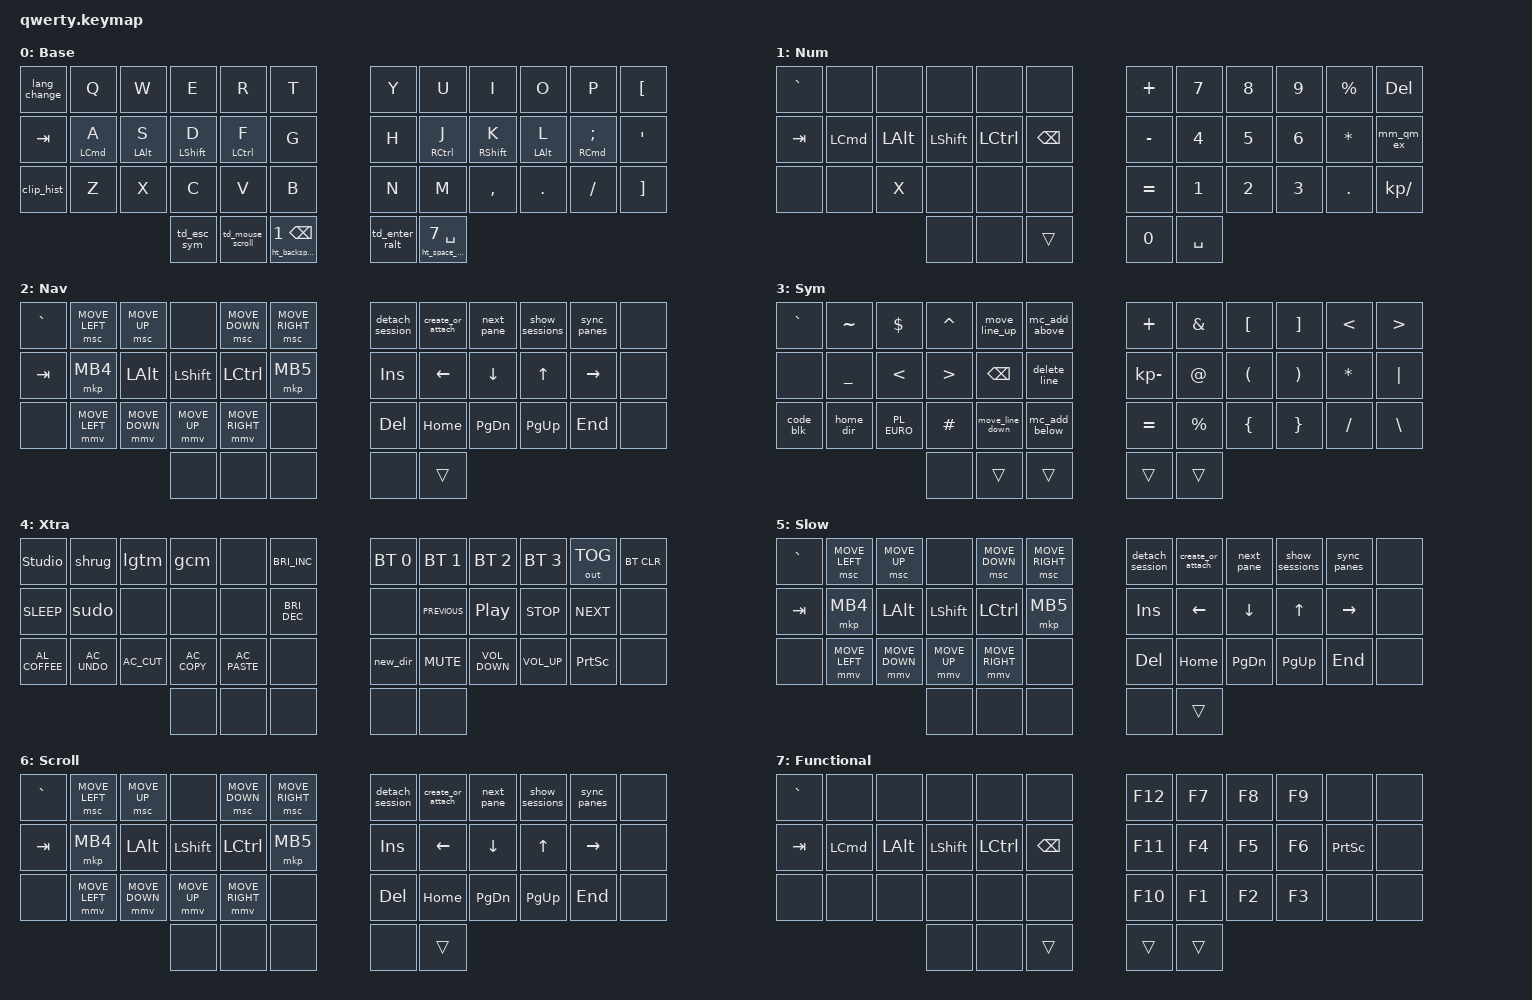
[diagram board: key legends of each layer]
/* upstream bindings and behaviors */
#include <behaviors.dtsi>
#include <dt-bindings/zmk/bt.h>
#include <dt-bindings/zmk/keys.h>
#include <dt-bindings/zmk/mouse.h>
#include <dt-bindings/zmk/outputs.h>
#include <behaviors/mouse_keys.dtsi>
#include <dt-bindings/zmk/ext_power.h>

/* local overlays */
#include "keys_pl.h"
#include "macros.dtsi"
#include "behaviors.dtsi"
#include "combos.dtsi"


/ {
/* --- KEYMAP CONFIG --- */
// ╭──────┬──────┬──────┬──────┬──────┬──────╮  ╭──────┬──────┬──────┬──────┬──────┬──────╮
//    00     01     02     03    04      05        06     07     08     09     10     11
// ├──────┼──────┼──────┼──────┼──────┼──────┤  ├──────┼──────┼──────┼──────┼──────┼──────┤
//    12     13     14     15    16      17        18     19     20     21     22     23
// ├──────┼──────┼──────┼──────┼──────┼──────┤  ├──────┼──────┼──────┼──────┼──────┼──────┤
//    24     25     26     27    28      29        30     31     32     33     34     35
// ╰──────┴──────┴──────┼──────┼──────┼──────┤  ├──────┼──────┼──────┴──────┴──────┴──────╯
//                         36     37     38        39     40
//                      ╰──────┴──────┴──────╯  ╰──────┴──────╯
// #define BASE    0
// #define NUM     1
// #define NAV     2
// #define SYM     3
// #define EXTRAS  4
// #define SLOW    5
// #define SCROLL  6
// #define FUNC    7

    keymap {
        compatible = "zmk,keymap";
        BASE {
            display-name = "Base";
            bindings = <
// ╭──────────────┬─────────────────┬─────────────────┬──────────────────┬──────────────────┬─────────────────────────────────╮  ╭────────────────┬─────────────────────────┬───────────────────┬──────────────────┬──────────────────────────┬──────────╮
     &lang_change   &kp Q             &kp W             &kp E              &kp R              &kp T                                &kp Y            &kp U                     &kp I               &kp O              &kp P                      &kp LBKT
// ├──────────────┼─────────────────┼─────────────────┼──────────────────┼──────────────────┼─────────────────────────────────┤  ├────────────────┼─────────────────────────┼───────────────────┼──────────────────┼──────────────────────────┼──────────┤
     &kp TAB        &ht_left LCMD A   &ht_left LALT S   &ht_left LSHFT D   &ht_left LCTRL F   &kp G                                &kp H            &ht_right RCTRL J         &ht_right RSHFT K   &ht_right LALT L   &ht_right RCMD SEMICOLON   &kp APOS
// ├──────────────┼─────────────────┼─────────────────┼──────────────────┼──────────────────┼─────────────────────────────────┤  ├────────────────┼─────────────────────────┼───────────────────┼──────────────────┼──────────────────────────┼──────────┤
     &clip_hist     &kp Z             &kp X             &kp C              &kp V              &kp B                                &kp N            &kp M                     &kp COMMA           &kp PERIOD         &kp FSLH                   &kp RBKT
// ╰──────────────┴─────────────────┴─────────────────┼──────────────────┼──────────────────┼─────────────────────────────────┤  ├────────────────┼─────────────────────────┼───────────────────┴──────────────────┴──────────────────────────┴──────────╯
                                                        &td_esc_sym        &td_mouse_scroll   &ht_backspace_layer 1 BACKSPACE      &td_enter_ralt   &ht_space_layer 7 SPACE
//                                                    ╰──────────────────┴──────────────────┴─────────────────────────────────╯  ╰────────────────┴─────────────────────────╯
            >;
        };

        NUM {
            display-name = "Num";
            bindings = <
// ╭───────────┬──────────┬──────────┬────────────┬───────────┬───────────────╮  ╭───────────┬───────────┬────────┬────────┬───────────┬──────────────╮
     &kp GRAVE   &none      &none      &none        &none       &none              &kp PLUS    &kp N7      &kp N8   &kp N9   &kp PRCNT   &kp DELETE
// ├───────────┼──────────┼──────────┼────────────┼───────────┼───────────────┤  ├───────────┼───────────┼────────┼────────┼───────────┼──────────────┤
     &kp TAB     &kp LCMD   &kp LALT   &kp LSHIFT   &kp LCTRL   &kp BACKSPACE      &kp MINUS   &kp N4      &kp N5   &kp N6   &kp ASTRK   &mm_qm_ex
// ├───────────┼──────────┼──────────┼────────────┼───────────┼───────────────┤  ├───────────┼───────────┼────────┼────────┼───────────┼──────────────┤
     &none       &none      &kp X      &none        &none       &none              &kp EQUAL   &kp N1      &kp N2   &kp N3   &kp DOT     &kp KP_SLASH
// ╰───────────┴──────────┴──────────┼────────────┼───────────┼───────────────┤  ├───────────┼───────────┼────────┴────────┴───────────┴──────────────╯
                                       &none        &none       &trans             &kp N0      &kp SPACE
//                                   ╰────────────┴───────────┴───────────────╯  ╰───────────┴───────────╯
            >;
        };

        NAV {
            display-name = "Nav";
            bindings = <
// ╭───────────┬────────────────┬────────────────┬──────────────┬─────────────────┬─────────────────╮  ╭─────────────────┬───────────────────┬────────────┬────────────────┬─────────────────┬───────╮
     &kp GRAVE   &msc MOVE_LEFT   &msc MOVE_UP     &none          &msc MOVE_DOWN    &msc MOVE_RIGHT      &detach_session   &create_or_attach   &next_pane   &show_sessions   &sync_panes       &none
// ├───────────┼────────────────┼────────────────┼──────────────┼─────────────────┼─────────────────┤  ├─────────────────┼───────────────────┼────────────┼────────────────┼─────────────────┼───────┤
     &kp TAB     &mkp MB4         &kp LALT         &kp LSHFT      &kp LCTRL         &mkp MB5             &kp INSERT        &kp LEFT_ARROW      &kp DOWN     &kp UP           &kp RIGHT_ARROW   &none
// ├───────────┼────────────────┼────────────────┼──────────────┼─────────────────┼─────────────────┤  ├─────────────────┼───────────────────┼────────────┼────────────────┼─────────────────┼───────┤
     &none       &mmv MOVE_LEFT   &mmv MOVE_DOWN   &mmv MOVE_UP   &mmv MOVE_RIGHT   &none                &kp DELETE        &kp HOME            &kp PG_DN    &kp PG_UP        &kp END           &none
// ╰───────────┴────────────────┴────────────────┼──────────────┼─────────────────┼─────────────────┤  ├─────────────────┼───────────────────┼────────────┴────────────────┴─────────────────┴───────╯
                                                   &none          &none             &none                &none             &trans
//                                               ╰──────────────┴─────────────────┴─────────────────╯  ╰─────────────────┴───────────────────╯
            >;
        };

        SYM {
            display-name = "Sym";
            bindings = <
// ╭───────────┬───────────┬─────────────┬───────────┬─────────────────┬───────────────╮  ╭──────────────┬───────────┬──────────┬──────────┬───────────┬──────────╮
     &kp GRAVE   &kp TILDE   &kp DLLR      &kp CARET   &move_line_up     &mc_add_above      &kp PLUS       &kp AMPS    &kp LBKT   &kp RBKT   &kp LT      &kp GT
// ├───────────┼───────────┼─────────────┼───────────┼─────────────────┼───────────────┤  ├──────────────┼───────────┼──────────┼──────────┼───────────┼──────────┤
     &none       &kp UNDER   &kp LT        &kp GT      &kp BACKSPACE     &delete_line       &kp KP_MINUS   &kp AT      &kp LPAR   &kp RPAR   &kp ASTRK   &kp PIPE
// ├───────────┼───────────┼─────────────┼───────────┼─────────────────┼───────────────┤  ├──────────────┼───────────┼──────────┼──────────┼───────────┼──────────┤
     &code_blk   &home_dir   &kp PL_EURO   &kp HASH    &move_line_down   &mc_add_below      &kp EQUAL      &kp PRCNT   &kp LBRC   &kp RBRC   &kp FSLH    &kp BSLH
// ╰───────────┴───────────┴─────────────┼───────────┼─────────────────┼───────────────┤  ├──────────────┼───────────┼──────────┴──────────┴───────────┴──────────╯
                                           &none       &trans            &trans             &trans         &trans
//                                       ╰───────────┴─────────────────┴───────────────╯  ╰──────────────┴───────────╯
            >;
        };

        EXTRAS {
            display-name = "Xtra";
            bindings = <
// ╭─────────────────┬───────────────┬──────────────┬───────────────┬────────────────┬──────────────────────╮  ╭──────────────┬────────────────┬───────────────────┬─────────────────┬─────────────────┬────────────╮
     &studio_unlock    &shrug          &lgtm          &gcm            &none            &kp C_BRIGHTNESS_INC      &bt BT_SEL 0   &bt BT_SEL 1     &bt BT_SEL 2        &bt BT_SEL 3      &out OUT_TOG      &bt BT_CLR
// ├─────────────────┼───────────────┼──────────────┼───────────────┼────────────────┼──────────────────────┤  ├──────────────┼────────────────┼───────────────────┼─────────────────┼─────────────────┼────────────┤
     &kp C_SLEEP       &sudo           &none          &none           &none            &kp C_BRIGHTNESS_DEC      &none          &kp C_PREVIOUS   &kp C_PLAY_PAUSE    &kp C_STOP        &kp C_NEXT        &none
// ├─────────────────┼───────────────┼──────────────┼───────────────┼────────────────┼──────────────────────┤  ├──────────────┼────────────────┼───────────────────┼─────────────────┼─────────────────┼────────────┤
     &kp C_AL_COFFEE   &kp C_AC_UNDO   &kp C_AC_CUT   &kp C_AC_COPY   &kp C_AC_PASTE   &none                     &new_dir       &kp K_MUTE       &kp C_VOLUME_DOWN   &kp C_VOLUME_UP   &kp PRINTSCREEN   &none
// ╰─────────────────┴───────────────┴──────────────┼───────────────┼────────────────┼──────────────────────┤  ├──────────────┼────────────────┼───────────────────┴─────────────────┴─────────────────┴────────────╯
                                                      &none           &none            &none                     &none          &none
//                                                  ╰───────────────┴────────────────┴──────────────────────╯  ╰──────────────┴────────────────╯
            >;
        };

        SLOW {
            display-name = "Slow";
            bindings = <
// ╭───────────┬────────────────┬────────────────┬──────────────┬─────────────────┬─────────────────╮  ╭─────────────────┬───────────────────┬────────────┬────────────────┬─────────────────┬───────╮
     &kp GRAVE   &msc MOVE_LEFT   &msc MOVE_UP     &none          &msc MOVE_DOWN    &msc MOVE_RIGHT      &detach_session   &create_or_attach   &next_pane   &show_sessions   &sync_panes       &none
// ├───────────┼────────────────┼────────────────┼──────────────┼─────────────────┼─────────────────┤  ├─────────────────┼───────────────────┼────────────┼────────────────┼─────────────────┼───────┤
     &kp TAB     &mkp MB4         &kp LALT         &kp LSHFT      &kp LCTRL         &mkp MB5             &kp INSERT        &kp LEFT_ARROW      &kp DOWN     &kp UP           &kp RIGHT_ARROW   &none
// ├───────────┼────────────────┼────────────────┼──────────────┼─────────────────┼─────────────────┤  ├─────────────────┼───────────────────┼────────────┼────────────────┼─────────────────┼───────┤
     &none       &mmv MOVE_LEFT   &mmv MOVE_DOWN   &mmv MOVE_UP   &mmv MOVE_RIGHT   &none                &kp DELETE        &kp HOME            &kp PG_DN    &kp PG_UP        &kp END           &none
// ╰───────────┴────────────────┴────────────────┼──────────────┼─────────────────┼─────────────────┤  ├─────────────────┼───────────────────┼────────────┴────────────────┴─────────────────┴───────╯
                                                   &none          &none             &none                &none             &trans
//                                               ╰──────────────┴─────────────────┴─────────────────╯  ╰─────────────────┴───────────────────╯
            >;
        };

        SCROLL {
            display-name = "Scroll";
            bindings = <
// ╭───────────┬────────────────┬────────────────┬──────────────┬─────────────────┬─────────────────╮  ╭─────────────────┬───────────────────┬────────────┬────────────────┬─────────────────┬───────╮
     &kp GRAVE   &msc MOVE_LEFT   &msc MOVE_UP     &none          &msc MOVE_DOWN    &msc MOVE_RIGHT      &detach_session   &create_or_attach   &next_pane   &show_sessions   &sync_panes       &none
// ├───────────┼────────────────┼────────────────┼──────────────┼─────────────────┼─────────────────┤  ├─────────────────┼───────────────────┼────────────┼────────────────┼─────────────────┼───────┤
     &kp TAB     &mkp MB4         &kp LALT         &kp LSHFT      &kp LCTRL         &mkp MB5             &kp INSERT        &kp LEFT_ARROW      &kp DOWN     &kp UP           &kp RIGHT_ARROW   &none
// ├───────────┼────────────────┼────────────────┼──────────────┼─────────────────┼─────────────────┤  ├─────────────────┼───────────────────┼────────────┼────────────────┼─────────────────┼───────┤
     &none       &mmv MOVE_LEFT   &mmv MOVE_DOWN   &mmv MOVE_UP   &mmv MOVE_RIGHT   &none                &kp DELETE        &kp HOME            &kp PG_DN    &kp PG_UP        &kp END           &none
// ╰───────────┴────────────────┴────────────────┼──────────────┼─────────────────┼─────────────────┤  ├─────────────────┼───────────────────┼────────────┴────────────────┴─────────────────┴───────╯
                                                   &none          &none             &none                &none             &trans
//                                               ╰──────────────┴─────────────────┴─────────────────╯  ╰─────────────────┴───────────────────╯
            >;
        };

        FUNC {
            display-name = "Functional";
            bindings = <
// ╭───────────┬──────────┬──────────┬────────────┬───────────┬───────────────╮  ╭─────────┬────────┬────────┬────────┬─────────────────┬───────╮
     &kp GRAVE   &none      &none      &none        &none       &none              &kp F12   &kp F7   &kp F8   &kp F9   &none             &none
// ├───────────┼──────────┼──────────┼────────────┼───────────┼───────────────┤  ├─────────┼────────┼────────┼────────┼─────────────────┼───────┤
     &kp TAB     &kp LCMD   &kp LALT   &kp LSHIFT   &kp LCTRL   &kp BACKSPACE      &kp F11   &kp F4   &kp F5   &kp F6   &kp PRINTSCREEN   &none
// ├───────────┼──────────┼──────────┼────────────┼───────────┼───────────────┤  ├─────────┼────────┼────────┼────────┼─────────────────┼───────┤
     &none       &none      &none      &none        &none       &none              &kp F10   &kp F1   &kp F2   &kp F3   &none             &none
// ╰───────────┴──────────┴──────────┼────────────┼───────────┼───────────────┤  ├─────────┼────────┼────────┴────────┴─────────────────┴───────╯
                                       &none        &none       &trans             &trans    &trans
//                                   ╰────────────┴───────────┴───────────────╯  ╰─────────┴────────╯
            >;
        };
    };
};
